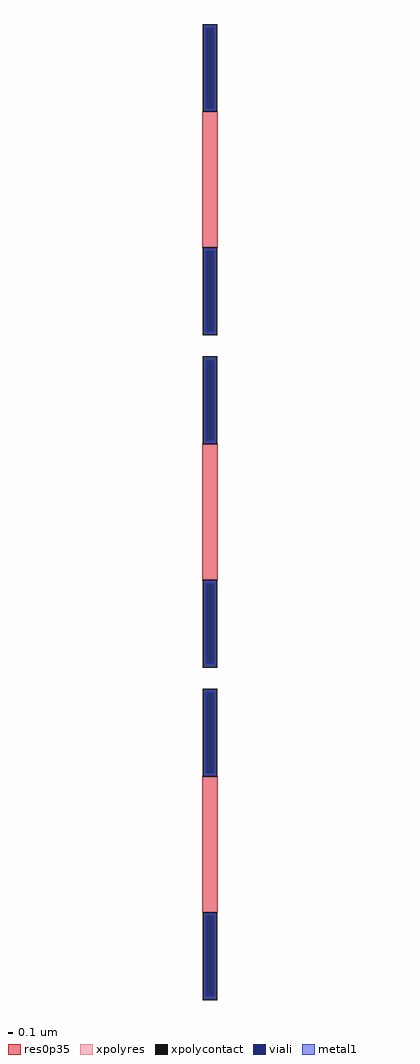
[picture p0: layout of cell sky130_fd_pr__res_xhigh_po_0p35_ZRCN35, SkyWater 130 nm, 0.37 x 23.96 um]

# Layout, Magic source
magic
tech sky130A
magscale 1 2
<< xpolycontact >>
rect -35 1964 35 2396
rect -35 868 35 1300
rect -35 332 35 764
rect -35 -764 35 -332
rect -35 -1300 35 -868
rect -35 -2396 35 -1964
<< xpolyres >>
rect -35 1300 35 1964
rect -35 -332 35 332
rect -35 -1964 35 -1300
<< viali >>
rect -19 1981 19 2378
rect -19 886 19 1283
rect -19 349 19 746
rect -19 -746 19 -349
rect -19 -1283 19 -886
rect -19 -2378 19 -1981
<< metal1 >>
rect -25 2378 25 2390
rect -25 1981 -19 2378
rect 19 1981 25 2378
rect -25 1969 25 1981
rect -25 1283 25 1295
rect -25 886 -19 1283
rect 19 886 25 1283
rect -25 874 25 886
rect -25 746 25 758
rect -25 349 -19 746
rect 19 349 25 746
rect -25 337 25 349
rect -25 -349 25 -337
rect -25 -746 -19 -349
rect 19 -746 25 -349
rect -25 -758 25 -746
rect -25 -886 25 -874
rect -25 -1283 -19 -886
rect 19 -1283 25 -886
rect -25 -1295 25 -1283
rect -25 -1981 25 -1969
rect -25 -2378 -19 -1981
rect 19 -2378 25 -1981
rect -25 -2390 25 -2378
<< res0p35 >>
rect -37 1298 37 1966
rect -37 -334 37 334
rect -37 -1966 37 -1298
<< properties >>
string gencell sky130_fd_pr__res_xhigh_po_0p35
string library sky130
string parameters w 0.350 l 3.32 m 3 nx 1 wmin 0.350 lmin 0.50 rho 2000 val 20.046k dummy 0 dw 0.0 term 188.2 sterm 0.0 caplen 0 wmax 0.350 guard 0 glc 1 grc 1 gtc 1 gbc 1 compatible {sky130_fd_pr__res_xhigh_po_0p35  sky130_fd_pr__res_xhigh_po_0p69 sky130_fd_pr__res_xhigh_po_1p41  sky130_fd_pr__res_xhigh_po_2p85 sky130_fd_pr__res_xhigh_po_5p73} full_metal 1 n_guard 0 hv_guard 0 vias 1 viagb 0 viagt 0 viagl 0 viagr 0
<< end >>
